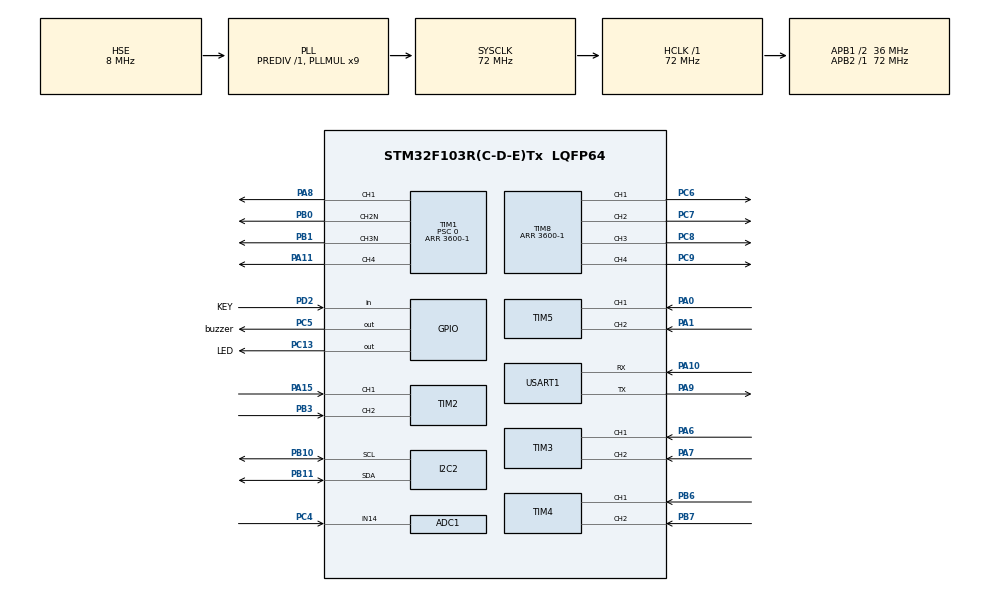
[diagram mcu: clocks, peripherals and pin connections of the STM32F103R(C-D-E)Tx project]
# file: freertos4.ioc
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ADC1.Channel-0\#ChannelRegularConversion=ADC_CHANNEL_14
ADC1.ContinuousConvMode=ENABLE
ADC1.NbrOfConversion=1
ADC1.NbrOfConversionFlag=1
ADC1.Rank-0\#ChannelRegularConversion=1
ADC1.SamplingTime-0\#ChannelRegularConversion=ADC_SAMPLETIME_239CYCLES_5
ADC1.master=1
FREERTOS.Tasks01=defaultTask,24,128,StartDefaultTask,Default,NULL,Dynamic,NULL,NULL
FREERTOS.configUSE_NEWLIB_REENTRANT=1
Mcu.Family=STM32F1
Mcu.Name=STM32F103R(C-D-E)Tx
Mcu.Package=LQFP64
NVIC.PriorityGroup=NVIC_PRIORITYGROUP_4
NVIC.TIM6_IRQn=true\:15\:0\:false\:false\:true\:false\:false\:true\:true
NVIC.TIM7_IRQn=true\:5\:0\:false\:false\:true\:true\:true\:true\:true
NVIC.TimeBase=TIM6_IRQn
NVIC.TimeBaseIP=TIM6
PA0-WKUP.Signal=S_TIM5_CH1
PA1.Signal=S_TIM5_CH2
PA10.Mode=Asynchronous
PA10.Signal=USART1_RX
PA11.Signal=S_TIM1_CH4
PA13.Mode=Serial_Wire
PA13.Signal=SYS_JTMS-SWDIO
PA14.Mode=Serial_Wire
PA14.Signal=SYS_JTCK-SWCLK
PA15.Signal=S_TIM2_CH1_ETR
PA6.Signal=S_TIM3_CH1
PA7.Signal=S_TIM3_CH2
PA8.Signal=S_TIM1_CH1
PA9.Mode=Asynchronous
PA9.Signal=USART1_TX
PB0.Mode=PWM Generation2 CH2N
PB0.Signal=TIM1_CH2N
PB1.Mode=PWM Generation3 CH3N
PB1.Signal=TIM1_CH3N
PB10.Mode=I2C
PB10.Signal=I2C2_SCL
PB11.Mode=I2C
PB11.Signal=I2C2_SDA
PB3.Signal=S_TIM2_CH2
PB6.Signal=S_TIM4_CH1
PB7.Signal=S_TIM4_CH2
PC13-TAMPER-RTC.GPIO_Label=LED
PC13-TAMPER-RTC.Signal=GPIO_Output
PC4.Signal=ADCx_IN14
PC5.GPIO_Label=buzzer
PC5.GPIO_Speed=GPIO_SPEED_FREQ_LOW
PC5.Signal=GPIO_Output
PC6.Signal=S_TIM8_CH1
PC7.Signal=S_TIM8_CH2
PC8.Signal=S_TIM8_CH3
PC9.Signal=S_TIM8_CH4
PD0-OSC_IN.Mode=HSE-External-Oscillator
PD0-OSC_IN.Signal=RCC_OSC_IN
PD1-OSC_OUT.Mode=HSE-External-Oscillator
PD1-OSC_OUT.Signal=RCC_OSC_OUT
PD2.GPIO_Label=KEY
PD2.GPIO_PuPd=GPIO_PULLUP
PD2.Signal=GPIO_Input
ProjectManager.HeapSize=0x200
ProjectManager.StackSize=0x400
ProjectManager.TargetToolchain=STM32CubeIDE
RCC.ADCPresc=RCC_ADCPCLK2_DIV6
RCC.AHBFreq_Value=72000000
RCC.APB1CLKDivider=RCC_HCLK_DIV2
RCC.APB1Freq_Value=36000000
RCC.APB1TimFreq_Value=72000000
RCC.APB2Freq_Value=72000000
RCC.APB2TimFreq_Value=72000000
RCC.HCLKFreq_Value=72000000
RCC.PLLMUL=RCC_PLL_MUL9
RCC.PLLSourceVirtual=RCC_PLLSOURCE_HSE
RCC.SYSCLKFreq_VALUE=72000000
RCC.SYSCLKSource=RCC_SYSCLKSOURCE_PLLCLK
RCC.USBFreq_Value=72000000
SH.ADCx_IN14.0=ADC1_IN14,IN14
SH.S_TIM1_CH1.0=TIM1_CH1,PWM Generation1 CH1
SH.S_TIM1_CH4.0=TIM1_CH4,PWM Generation4 CH4
SH.S_TIM2_CH1_ETR.0=TIM2_CH1,Encoder_Interface
SH.S_TIM2_CH2.0=TIM2_CH2,Encoder_Interface
SH.S_TIM3_CH1.0=TIM3_CH1,Encoder_Interface
SH.S_TIM3_CH2.0=TIM3_CH2,Encoder_Interface
SH.S_TIM4_CH1.0=TIM4_CH1,Encoder_Interface
SH.S_TIM4_CH2.0=TIM4_CH2,Encoder_Interface
SH.S_TIM5_CH1.0=TIM5_CH1,Encoder_Interface
SH.S_TIM5_CH2.0=TIM5_CH2,Encoder_Interface
SH.S_TIM8_CH1.0=TIM8_CH1,Output Compare1 CH1
SH.S_TIM8_CH2.0=TIM8_CH2,PWM Generation2 CH2
SH.S_TIM8_CH3.0=TIM8_CH3,PWM Generation3 CH3
SH.S_TIM8_CH4.0=TIM8_CH4,PWM Generation4 CH4
TIM1.AutoReloadPreload=TIM_AUTORELOAD_PRELOAD_ENABLE
TIM1.Channel-PWM\ Generation1\ CH1=TIM_CHANNEL_1
TIM1.Channel-PWM\ Generation2\ CH2N=TIM_CHANNEL_2
TIM1.Channel-PWM\ Generation3\ CH3N=TIM_CHANNEL_3
TIM1.Channel-PWM\ Generation4\ CH4=TIM_CHANNEL_4
TIM1.Period=3600-1
TIM1.Prescaler=0
TIM3.AutoReloadPreload=TIM_AUTORELOAD_PRELOAD_ENABLE
TIM3.EncoderMode=TIM_ENCODERMODE_TI12
TIM3.IC1Filter=0xf
TIM3.IC2Filter=0xf
TIM7.AutoReloadPreload=TIM_AUTORELOAD_PRELOAD_ENABLE
TIM7.Period=100-1
TIM7.Prescaler=7200-1
TIM8.Channel-Output\ Compare1\ CH1=TIM_CHANNEL_1
TIM8.Channel-PWM\ Generation2\ CH2=TIM_CHANNEL_2
TIM8.Channel-PWM\ Generation3\ CH3=TIM_CHANNEL_3
TIM8.Channel-PWM\ Generation4\ CH4=TIM_CHANNEL_4
TIM8.Period=3600-1
USART1.VirtualMode=VM_ASYNC
VP_FREERTOS_VS_CMSIS_V2.Mode=CMSIS_V2
VP_SYS_VS_tim6.Mode=TIM6
VP_TIM1_VS_ClockSourceINT.Mode=Internal
VP_TIM7_VS_ClockSourceINT.Mode=Enable_Timer
VP_TIM8_VS_ClockSourceINT.Mode=Internal
board=custom

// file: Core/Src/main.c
/* USER CODE BEGIN Header */
/**
  ******************************************************************************
  * @file           : main.c
  * @brief          : Main program body
  ******************************************************************************
  * @attention
  *
  * Copyright (c) 2025 STMicroelectronics.
  * All rights reserved.
  *
  * This software is licensed under terms that can be found in the LICENSE file
  * in the root directory of this software component.
  * If no LICENSE file comes with this software, it is provided AS-IS.
  *
  ******************************************************************************
  */
/* USER CODE END Header */
#include "main.h"
#include "cmsis_os.h"
#include "adc.h"
#include "i2c.h"
#include "tim.h"
#include "usart.h"
#include "gpio.h"

/* USER CODE BEGIN Includes */
#include "freertos_ITF.h"
/* USER CODE END Includes */

void SystemClock_Config(void);
void MX_FREERTOS_Init(void);

int main(void)
{

  /* MCU Configuration--------------------------------------------------------*/

  /* Reset of all peripherals, Initializes the Flash interface and the Systick. */
  HAL_Init();

  /* Configure the system clock */
  SystemClock_Config();

  /* Initialize all configured peripherals */
  MX_GPIO_Init();
  MX_I2C2_Init();
  MX_TIM1_Init();
  MX_TIM8_Init();
  MX_TIM3_Init();
  MX_USART1_UART_Init();
  MX_TIM2_Init();
  MX_TIM4_Init();
  MX_TIM5_Init();
  MX_ADC1_Init();
  MX_TIM7_Init();
  /* USER CODE BEGIN 2 */
    Motor_Init();
    OLED_Init();
    OLED_Clear();
  /* USER CODE END 2 */

  /* Init scheduler */
  osKernelInitialize();

  /* Call init function for freertos objects (in cmsis_os2.c) */
  MX_FREERTOS_Init();

  /* Start scheduler */
  osKernelStart();

  /* We should never get here as control is now taken by the scheduler */

  /* Infinite loop */
    while (1) {

    }
}

void SystemClock_Config(void)
{
  RCC_OscInitTypeDef RCC_OscInitStruct = {0};
  RCC_ClkInitTypeDef RCC_ClkInitStruct = {0};
  RCC_PeriphCLKInitTypeDef PeriphClkInit = {0};

  /** Initializes the RCC Oscillators according to the specified parameters
  * in the RCC_OscInitTypeDef structure.
  */
  RCC_OscInitStruct.OscillatorType = RCC_OSCILLATORTYPE_HSE;
  RCC_OscInitStruct.HSEState = RCC_HSE_ON;
  RCC_OscInitStruct.HSEPredivValue = RCC_HSE_PREDIV_DIV1;
  RCC_OscInitStruct.HSIState = RCC_HSI_ON;
  RCC_OscInitStruct.PLL.PLLState = RCC_PLL_ON;
  RCC_OscInitStruct.PLL.PLLSource = RCC_PLLSOURCE_HSE;
  RCC_OscInitStruct.PLL.PLLMUL = RCC_PLL_MUL9;
  if (HAL_RCC_OscConfig(&RCC_OscInitStruct) != HAL_OK)
  {
    Error_Handler();
  }

  /** Initializes the CPU, AHB and APB buses clocks
  */
  RCC_ClkInitStruct.ClockType = RCC_CLOCKTYPE_HCLK|RCC_CLOCKTYPE_SYSCLK
                              |RCC_CLOCKTYPE_PCLK1|RCC_CLOCKTYPE_PCLK2;
  RCC_ClkInitStruct.SYSCLKSource = RCC_SYSCLKSOURCE_PLLCLK;
  RCC_ClkInitStruct.AHBCLKDivider = RCC_SYSCLK_DIV1;
  RCC_ClkInitStruct.APB1CLKDivider = RCC_HCLK_DIV2;
  RCC_ClkInitStruct.APB2CLKDivider = RCC_HCLK_DIV1;

  if (HAL_RCC_ClockConfig(&RCC_ClkInitStruct, FLASH_LATENCY_2) != HAL_OK)
  {
    Error_Handler();
  }
  PeriphClkInit.PeriphClockSelection = RCC_PERIPHCLK_ADC;
  PeriphClkInit.AdcClockSelection = RCC_ADCPCLK2_DIV6;
  if (HAL_RCCEx_PeriphCLKConfig(&PeriphClkInit) != HAL_OK)
  {
    Error_Handler();
  }
}

void HAL_TIM_PeriodElapsedCallback(TIM_HandleTypeDef *htim)
{
  if (htim->Instance == TIM6) {
    HAL_IncTick();
  }
}

void Error_Handler(void)
{
    __disable_irq();
    while (1) {
    }
}

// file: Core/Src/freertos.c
/* USER CODE BEGIN Header */
/**
  ******************************************************************************
  * File Name          : freertos.c
  * Description        : Code for freertos applications
  ******************************************************************************
  * @attention
  *
  * Copyright (c) 2025 STMicroelectronics.
  * All rights reserved.
  *
  * This software is licensed under terms that can be found in the LICENSE file
  * in the root directory of this software component.
  * If no LICENSE file comes with this software, it is provided AS-IS.
  *
  ******************************************************************************
  */
/* USER CODE END Header */

#include "FreeRTOS.h"
#include "task.h"
#include "main.h"
#include "cmsis_os.h"

/* USER CODE BEGIN Includes */
#include "freertos_ITF.h"
/* USER CODE END Includes */

/* USER CODE BEGIN Variables */
// 同步示例全局变量
static volatile uint8_t g_count_end = 0;
static uint32_t g_cnt = 0;
static uint64_t g_time = 0;
/* USER CODE END Variables */
/* Definitions for defaultTask */
osThreadId_t defaultTaskHandle;
const osThreadAttr_t defaultTask_attributes = {
        .name = "defaultTask",
        .stack_size = 128 * 4,
        .priority = (osPriority_t) osPriorityNormal,
};

/* USER CODE BEGIN FunctionPrototypes */
void Task_B(void *argument);
void Task_A(void *argument);
/* USER CODE END FunctionPrototypes */

void StartDefaultTask(void *argument);

void MX_FREERTOS_Init(void); /* (MISRA C 2004 rule 8.1) */

void MX_FREERTOS_Init(void) {

    /* Create the thread(s) */
    /* creation of defaultTask */
//    defaultTaskHandle = osThreadNew(StartDefaultTask, NULL, &defaultTask_attributes);

    /* USER CODE BEGIN RTOS_THREADS */
    /* add threads, ... */
    xTaskCreate(Task_A, "TaskA", 128, NULL, osPriorityNormal, NULL);
    xTaskCreate(Task_B, "TaskB", 128, NULL, osPriorityNormal, NULL);
    /* USER CODE END RTOS_THREADS */

}

void StartDefaultTask(void *argument) {
    /* USER CODE BEGIN StartDefaultTask */
    /* Infinite loop */
    for (;;) {
        rtBuzzer_ON_Time();
    }
    /* USER CODE END StartDefaultTask */
}

/* USER CODE BEGIN Application */
/* 同步示例 */
void Task_A(void *argument) {
    uint32_t i;
    OLED_ShowStr(0, 0, "Waiting", 16);
    g_time = system_get_ns();
    for (i = 0; i < 10000000; i++) {
        g_cnt += i;
    }
    g_time = system_get_ns() - g_time;
    g_count_end = 1;
    vTaskDelete(NULL);
}

void Task_B(void *argument) {
    OLED_ShowStr(0, 0, "Waiting", 16);
    vTaskDelay(7300);
    while (g_count_end == 0);
    OLED_Clear();
    OLED_ShowNum(0, 0, g_time / 1000000, 11, 16);
    OLED_ShowNum(0, 2, g_cnt, 11, 16);
    vTaskDelete(NULL);
}
/* USER CODE END Application */
